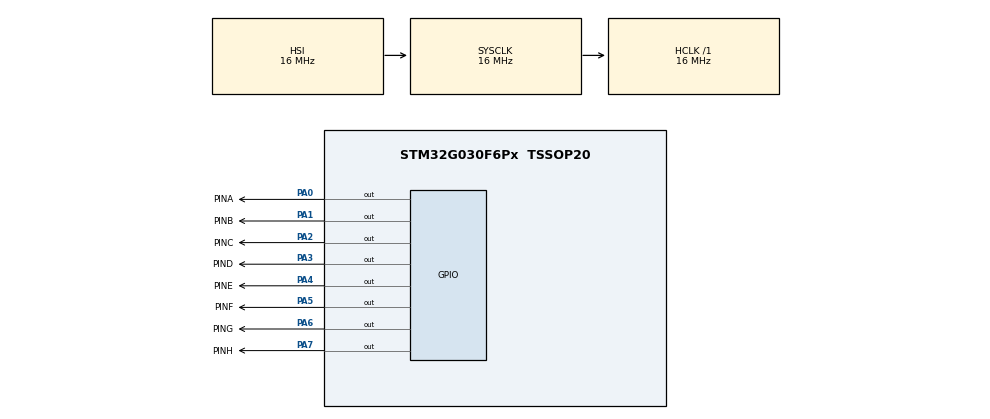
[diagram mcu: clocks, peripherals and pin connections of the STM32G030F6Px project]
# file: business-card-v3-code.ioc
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Mcu.Family=STM32G0
RCC.CortexFreq_Value=16000000
PA0.PinState=GPIO_PIN_RESET
PA0.GPIO_Label=PINA
RCC.EXTERNAL_CLOCK_VALUE=12288000
PA6.PinState=GPIO_PIN_RESET
PA6.GPIO_Label=PING
ProjectManager.StackSize=0x400
ProjectManager.TargetToolchain=Makefile
PA7.PinState=GPIO_PIN_RESET
RCC.HCLKFreq_Value=16000000
RCC.LSE_VALUE=32768
PA1.Signal=GPIO_Output
RCC.AHBFreq_Value=16000000
PA5.Signal=GPIO_Output
RCC.HSE_VALUE=8000000
PA4.GPIO_PuPd=GPIO_NOPULL
board=custom
RCC.VCOOutputFreq_Value=128000000
PA1.GPIO_Label=PINB
Mcu.Name=STM32G030F6Px
PA2.Signal=GPIO_Output
PA0.Signal=GPIO_Output
PA4.Signal=GPIO_Output
RCC.SYSCLKFreq_VALUE=16000000
Mcu.Package=TSSOP20
PA6.Signal=GPIO_Output
PA7.GPIO_Label=PINH
PA5.GPIO_Label=PINF
PA2.GPIO_Label=PINC
ProjectManager.HeapSize=0x200
RCC.HSI_VALUE=16000000
PA4.GPIO_Label=PINE
PA3.GPIO_Label=PIND
PA3.Signal=GPIO_Output
PA7.Signal=GPIO_Output

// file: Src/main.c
/* USER CODE BEGIN Header */
/**
  ******************************************************************************
  * @file           : main.c
  * @brief          : Main program body
  ******************************************************************************
  * @attention
  *
  * <h2><center>&copy; Copyright (c) 2020 STMicroelectronics.
  * All rights reserved.</center></h2>
  *
  * This software component is licensed by ST under BSD 3-Clause license,
  * the "License"; You may not use this file except in compliance with the
  * License. You may obtain a copy of the License at:
  *                        opensource.org/licenses/BSD-3-Clause
  *
  ******************************************************************************
  */
/* USER CODE END Header */

#include "main.h"

/* USER CODE BEGIN Includes */
#include "stm32g0xx_hal_gpio.h"

/* USER CODE END Includes */

/* USER CODE BEGIN PV */

void display_led(uint16_t col, uint16_t row);
void display_8_bit_frame(uint8_t msg[7]);
void turn_off_display(void);
void scroll_64_bit_msg(uint64_t msg[7], int maxIndex);

uint8_t smile[7] = {
  0b00000000,
  0b01100110,
  0b01100110,
  0b00000000,
  0b01000010,
  0b01000010,
  0b00111100,
};

uint8_t hi[7] = {
  0b10010111,
  0b10010010,
  0b10010010,
  0b11110010,
  0b10010010,
  0b10010010,
  0b10010111,
};

uint64_t website_url[7] = {
	0b0000000000000000000000000000000000000000000000000000000000000000,
	0b1010101010100010101110101010111010001010111011101110111000111011,
	0b1010101010100011001110101010101010001010010001001110100000100010,
	0b1110111011100011001000101010101010001010010010001000100000100010,
	0b1010101010101010101110010010101011101110010011101110100010111011,
  0b0000000000000000000000000000000000000000000000000000000000000000,
  0b0000000000000000000000000000000000000000000000000000000000000000
};

uint64_t website_url2[7] = {
    0b0000000000000000000000000000000000000000000000000000000000000000,
    0b1101110101000000000000000000000000000000000000000000000000000000,
    0b0001010111000000000000000000000000000000000000000000000000000000,
    0b0001010101000000000000000000000000000000000000000000000000000000,
    0b1101110101000000000000000000000000000000000000000000000000000000,
    0b0000000000000000000000000000000000000000000000000000000000000000,
    0b0000000000000000000000000000000000000000000000000000000000000000,
};

/* USER CODE END PV */

void SystemClock_Config(void);
static void MX_GPIO_Init(void);

int main(void)
{

  /* MCU Configuration--------------------------------------------------------*/

  /* Reset of all peripherals, Initializes the Flash interface and the Systick. */
  HAL_Init();

  /* Configure the system clock */
  SystemClock_Config();

  /* Initialize all configured peripherals */
  MX_GPIO_Init();

  /* Infinite loop */
  while (1)
  {

    /* USER CODE BEGIN 3 */
    for(int i = 0; i < 10000; i ++ ) {
      display_8_bit_frame(smile);
    }

    turn_off_display();
    HAL_Delay(500);

    for(int i = 0; i < 10000; i ++ ) {
      display_8_bit_frame(hi);
    }

    turn_off_display();
    HAL_Delay(500);

    scroll_64_bit_msg(website_url, 64);
    scroll_64_bit_msg(website_url2, 24);

  }

  /* USER CODE END 3 */
}

void SystemClock_Config(void)
{
  RCC_OscInitTypeDef RCC_OscInitStruct = {0};
  RCC_ClkInitTypeDef RCC_ClkInitStruct = {0};

  /** Configure the main internal regulator output voltage
  */
  HAL_PWREx_ControlVoltageScaling(PWR_REGULATOR_VOLTAGE_SCALE1);
  /** Initializes the CPU, AHB and APB busses clocks
  */
  RCC_OscInitStruct.OscillatorType = RCC_OSCILLATORTYPE_HSI;
  RCC_OscInitStruct.HSIState = RCC_HSI_ON;
  RCC_OscInitStruct.HSIDiv = RCC_HSI_DIV1;
  RCC_OscInitStruct.HSICalibrationValue = RCC_HSICALIBRATION_DEFAULT;
  RCC_OscInitStruct.PLL.PLLState = RCC_PLL_NONE;
  if (HAL_RCC_OscConfig(&RCC_OscInitStruct) != HAL_OK)
  {
    Error_Handler();
  }
  /** Initializes the CPU, AHB and APB busses clocks
  */
  RCC_ClkInitStruct.ClockType = RCC_CLOCKTYPE_HCLK|RCC_CLOCKTYPE_SYSCLK
                              |RCC_CLOCKTYPE_PCLK1;
  RCC_ClkInitStruct.SYSCLKSource = RCC_SYSCLKSOURCE_HSI;
  RCC_ClkInitStruct.AHBCLKDivider = RCC_SYSCLK_DIV1;
  RCC_ClkInitStruct.APB1CLKDivider = RCC_HCLK_DIV1;

  if (HAL_RCC_ClockConfig(&RCC_ClkInitStruct, FLASH_LATENCY_0) != HAL_OK)
  {
    Error_Handler();
  }
}

static void MX_GPIO_Init(void)
{
  GPIO_InitTypeDef GPIO_InitStruct = {0};

  /* GPIO Ports Clock Enable */
  __HAL_RCC_GPIOA_CLK_ENABLE();

  /*Configure GPIO pin Output Level */
  HAL_GPIO_WritePin(GPIOA, PINA_Pin|PINB_Pin|PINC_Pin|PIND_Pin
                          |PINE_Pin|PINF_Pin|PING_Pin|PINH_Pin, GPIO_PIN_RESET);

  /*Configure GPIO pins : PINA_Pin PINB_Pin PINC_Pin PIND_Pin
                           PINE_Pin PINF_Pin PING_Pin PINH_Pin */
  GPIO_InitStruct.Pin = PINA_Pin|PINB_Pin|PINC_Pin|PIND_Pin
                          |PINE_Pin|PINF_Pin|PING_Pin|PINH_Pin;
  GPIO_InitStruct.Mode = GPIO_MODE_OUTPUT_PP;
  GPIO_InitStruct.Pull = GPIO_NOPULL;
  GPIO_InitStruct.Speed = GPIO_SPEED_FREQ_LOW;
  HAL_GPIO_Init(GPIOA, &GPIO_InitStruct);

}

/* USER CODE BEGIN 4 */

/**
 * @brief This function turns on the led corresponding to row and col. Note that the origin
 * for the led matrix is the top left corner of the display.
 */
void display_led(uint16_t row, uint16_t col) {
  uint16_t cathode = 7 - row;
  if (col >= cathode) {
    cathode = ((uint8_t)(6)) - row;
  }

  GPIOA->MODER = ((0x1UL) << (col * 2u)) | ((0x1UL) << (cathode * 2u)); //  ((0x4000UL) >>(cathode * 2u));
  GPIOA->ODR = 0x01 << col;
}

/**
 * @brief Use to display an 8 bit frame
 */
void display_8_bit_frame(uint8_t msg[7]) {
  turn_off_display();
  for(uint8_t row = 0; row < 8; row ++ ) {
    for(uint8_t col = 0; col < 8; col ++ ) {
      if(0x80 & (msg[row] << col)) {
        display_led(row, col);
      }
    }
  }
}

/**
 * @brief Display a 64 bit message by scrolling it across the display. There is a delay for each
 * frame that is rendered that is fixed within the code. Adjust the outer loop that calls the
 * display_8_bit_frame function.
 */
void scroll_64_bit_msg(uint64_t msg[7], int maxIndex) {
  uint8_t frame[7];
  for (uint8_t i = 8; i <= maxIndex; i ++) {

      for (uint8_t j = 0; j < 7; j ++) {
        frame[j] = 0xFF & (msg[j] >> (64 - i));
      }

      for(int i = 0; i < 2500; i ++ ) {
        display_8_bit_frame(frame);
      }

 }
}

/**
 * @brief Use to turn off all the leds of the display. This resets the mode of the GPIO
 * so you will have to use the display_led command or manually adjust the MODER Register.
 */
void turn_off_display() {
  GPIOA->MODER = 0x0UL;
}

/* USER CODE END 4 */

void Error_Handler(void)
{
}

/************************ (C) COPYRIGHT STMicroelectronics *****END OF FILE****/
